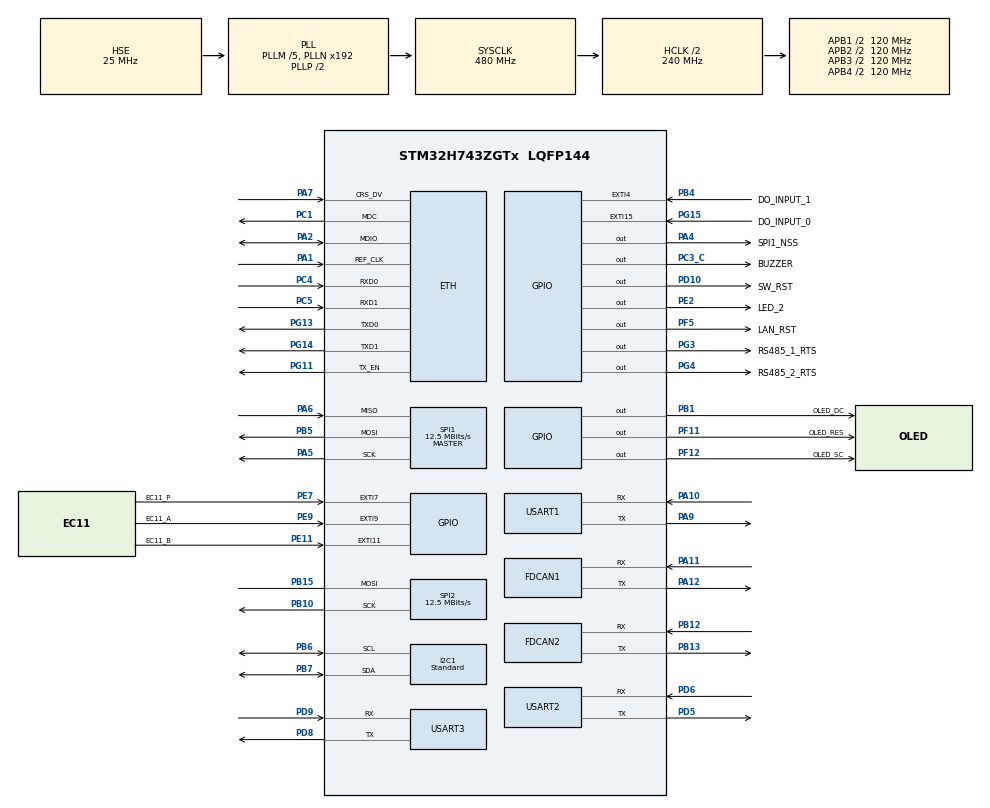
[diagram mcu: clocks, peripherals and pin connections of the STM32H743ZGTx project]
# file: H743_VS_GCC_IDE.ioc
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CORTEX_M7.AccessPermission_S-Cortex_Memory_Protection_Unit_Region1_Settings_S=MPU_REGION_FULL_ACCESS
CORTEX_M7.AccessPermission_S-Cortex_Memory_Protection_Unit_Region2_Settings_S=MPU_REGION_FULL_ACCESS
CORTEX_M7.AccessPermission_S-Cortex_Memory_Protection_Unit_Region3_Settings_S=MPU_REGION_FULL_ACCESS
CORTEX_M7.AccessPermission_S-Cortex_Memory_Protection_Unit_Region4_Settings_S=MPU_REGION_FULL_ACCESS
CORTEX_M7.AccessPermission_Spec=MPU_REGION_FULL_ACCESS
CORTEX_M7.BaseAddress_S-Cortex_Memory_Protection_Unit_Region1_Settings_S=0x30000000
CORTEX_M7.BaseAddress_S-Cortex_Memory_Protection_Unit_Region2_Settings_S=0x30004000
CORTEX_M7.BaseAddress_S-Cortex_Memory_Protection_Unit_Region3_Settings_S=0x38800000
CORTEX_M7.BaseAddress_S-Cortex_Memory_Protection_Unit_Region4_Settings_S=0x38000000
CORTEX_M7.BaseAddress_Spec=0x24000000
CORTEX_M7.CPU_DCache=Enabled
CORTEX_M7.CPU_ICache=Enabled
CORTEX_M7.DisableExec_S-Cortex_Memory_Protection_Unit_Region1_Settings_S=MPU_INSTRUCTION_ACCESS_DISABLE
CORTEX_M7.DisableExec_S-Cortex_Memory_Protection_Unit_Region2_Settings_S=MPU_INSTRUCTION_ACCESS_ENABLE
CORTEX_M7.DisableExec_Spec=MPU_INSTRUCTION_ACCESS_ENABLE
CORTEX_M7.Enable_S-Cortex_Memory_Protection_Unit_Region1_Settings_S=MPU_REGION_ENABLE
CORTEX_M7.Enable_S-Cortex_Memory_Protection_Unit_Region2_Settings_S=MPU_REGION_ENABLE
CORTEX_M7.Enable_S-Cortex_Memory_Protection_Unit_Region3_Settings_S=MPU_REGION_ENABLE
CORTEX_M7.Enable_S-Cortex_Memory_Protection_Unit_Region4_Settings_S=MPU_REGION_ENABLE
CORTEX_M7.Enable_S-Cortex_Memory_Protection_Unit_Region5_Settings_S=__NULL
CORTEX_M7.IsBufferable_S-Cortex_Memory_Protection_Unit_Region1_Settings_S=MPU_ACCESS_BUFFERABLE
CORTEX_M7.IsBufferable_S-Cortex_Memory_Protection_Unit_Region2_Settings_S=MPU_ACCESS_NOT_BUFFERABLE
CORTEX_M7.IsBufferable_S-Cortex_Memory_Protection_Unit_Region4_Settings_S=MPU_ACCESS_NOT_BUFFERABLE
CORTEX_M7.IsBufferable_Spec=MPU_ACCESS_NOT_BUFFERABLE
CORTEX_M7.IsCacheable_S-Cortex_Memory_Protection_Unit_Region2_Settings_S=MPU_ACCESS_CACHEABLE
CORTEX_M7.IsCacheable_S-Cortex_Memory_Protection_Unit_Region4_Settings_S=MPU_ACCESS_CACHEABLE
CORTEX_M7.IsCacheable_Spec=MPU_ACCESS_CACHEABLE
CORTEX_M7.IsShareable_S-Cortex_Memory_Protection_Unit_Region1_Settings_S=MPU_ACCESS_SHAREABLE
CORTEX_M7.IsShareable_S-Cortex_Memory_Protection_Unit_Region2_Settings_S=MPU_ACCESS_NOT_SHAREABLE
CORTEX_M7.IsShareable_S-Cortex_Memory_Protection_Unit_Region4_Settings_S=MPU_ACCESS_SHAREABLE
CORTEX_M7.IsShareable_Spec=MPU_ACCESS_NOT_SHAREABLE
CORTEX_M7.Size_S-Cortex_Memory_Protection_Unit_Region1_Settings_S=MPU_REGION_SIZE_256B
CORTEX_M7.Size_S-Cortex_Memory_Protection_Unit_Region2_Settings_S=MPU_REGION_SIZE_64KB
CORTEX_M7.Size_S-Cortex_Memory_Protection_Unit_Region3_Settings_S=MPU_REGION_SIZE_4KB
CORTEX_M7.Size_S-Cortex_Memory_Protection_Unit_Region4_Settings_S=MPU_REGION_SIZE_64KB
CORTEX_M7.Size_Spec=MPU_REGION_SIZE_512KB
CORTEX_M7.SubRegionDisable_Spec=0x00
CORTEX_M7.TypeExtField_S-Cortex_Memory_Protection_Unit_Region2_Settings_S=MPU_TEX_LEVEL1
CORTEX_M7.default_mode_Activation=1
Dma.I2C1_TX.0.Direction=DMA_MEMORY_TO_PERIPH
Dma.I2C1_TX.0.EventEnable=DISABLE
Dma.I2C1_TX.0.FIFOMode=DMA_FIFOMODE_DISABLE
Dma.I2C1_TX.0.Instance=DMA1_Stream3
Dma.I2C1_TX.0.MemDataAlignment=DMA_MDATAALIGN_BYTE
Dma.I2C1_TX.0.MemInc=DMA_MINC_ENABLE
Dma.I2C1_TX.0.Mode=DMA_NORMAL
Dma.I2C1_TX.0.PeriphDataAlignment=DMA_PDATAALIGN_BYTE
Dma.I2C1_TX.0.PeriphInc=DMA_PINC_DISABLE
Dma.I2C1_TX.0.Polarity=HAL_DMAMUX_REQ_GEN_RISING
Dma.I2C1_TX.0.Priority=DMA_PRIORITY_LOW
Dma.I2C1_TX.0.RequestNumber=1
Dma.I2C1_TX.0.SignalID=NONE
Dma.I2C1_TX.0.SyncEnable=DISABLE
Dma.I2C1_TX.0.SyncPolarity=HAL_DMAMUX_SYNC_NO_EVENT
Dma.I2C1_TX.0.SyncRequestNumber=1
Dma.I2C1_TX.0.SyncSignalID=NONE
Dma.Request0=I2C1_TX
Dma.Request1=USART2_RX
Dma.Request2=USART2_TX
Dma.Request3=USART1_RX
Dma.Request4=USART1_TX
Dma.USART1_RX.3.Direction=DMA_PERIPH_TO_MEMORY
Dma.USART1_RX.3.EventEnable=DISABLE
Dma.USART1_RX.3.FIFOMode=DMA_FIFOMODE_DISABLE
Dma.USART1_RX.3.Instance=DMA1_Stream0
Dma.USART1_RX.3.MemDataAlignment=DMA_MDATAALIGN_BYTE
Dma.USART1_RX.3.MemInc=DMA_MINC_ENABLE
Dma.USART1_RX.3.Mode=DMA_NORMAL
Dma.USART1_RX.3.PeriphDataAlignment=DMA_PDATAALIGN_BYTE
Dma.USART1_RX.3.PeriphInc=DMA_PINC_DISABLE
Dma.USART1_RX.3.Polarity=HAL_DMAMUX_REQ_GEN_RISING
Dma.USART1_RX.3.Priority=DMA_PRIORITY_HIGH
Dma.USART1_RX.3.RequestNumber=1
Dma.USART1_RX.3.SignalID=NONE
Dma.USART1_RX.3.SyncEnable=DISABLE
Dma.USART1_RX.3.SyncPolarity=HAL_DMAMUX_SYNC_NO_EVENT
Dma.USART1_RX.3.SyncRequestNumber=1
Dma.USART1_RX.3.SyncSignalID=NONE
Dma.USART1_TX.4.Direction=DMA_MEMORY_TO_PERIPH
Dma.USART1_TX.4.EventEnable=DISABLE
Dma.USART1_TX.4.FIFOMode=DMA_FIFOMODE_DISABLE
Dma.USART1_TX.4.Instance=DMA1_Stream1
Dma.USART1_TX.4.MemDataAlignment=DMA_MDATAALIGN_BYTE
Dma.USART1_TX.4.MemInc=DMA_MINC_ENABLE
Dma.USART1_TX.4.Mode=DMA_NORMAL
Dma.USART1_TX.4.PeriphDataAlignment=DMA_PDATAALIGN_BYTE
Dma.USART1_TX.4.PeriphInc=DMA_PINC_DISABLE
Dma.USART1_TX.4.Polarity=HAL_DMAMUX_REQ_GEN_RISING
Dma.USART1_TX.4.Priority=DMA_PRIORITY_HIGH
Dma.USART1_TX.4.RequestNumber=1
Dma.USART1_TX.4.SignalID=NONE
Dma.USART1_TX.4.SyncEnable=DISABLE
Dma.USART1_TX.4.SyncPolarity=HAL_DMAMUX_SYNC_NO_EVENT
Dma.USART1_TX.4.SyncRequestNumber=1
Dma.USART1_TX.4.SyncSignalID=NONE
Dma.USART2_RX.1.Direction=DMA_PERIPH_TO_MEMORY
Dma.USART2_RX.1.EventEnable=DISABLE
Dma.USART2_RX.1.FIFOMode=DMA_FIFOMODE_DISABLE
Dma.USART2_RX.1.Instance=DMA1_Stream4
Dma.USART2_RX.1.MemDataAlignment=DMA_MDATAALIGN_BYTE
Dma.USART2_RX.1.MemInc=DMA_MINC_ENABLE
Dma.USART2_RX.1.Mode=DMA_NORMAL
Dma.USART2_RX.1.PeriphDataAlignment=DMA_PDATAALIGN_BYTE
Dma.USART2_RX.1.PeriphInc=DMA_PINC_DISABLE
Dma.USART2_RX.1.Polarity=HAL_DMAMUX_REQ_GEN_RISING
Dma.USART2_RX.1.Priority=DMA_PRIORITY_LOW
Dma.USART2_RX.1.RequestNumber=1
Dma.USART2_RX.1.SignalID=NONE
Dma.USART2_RX.1.SyncEnable=DISABLE
Dma.USART2_RX.1.SyncPolarity=HAL_DMAMUX_SYNC_NO_EVENT
Dma.USART2_RX.1.SyncRequestNumber=1
Dma.USART2_RX.1.SyncSignalID=NONE
Dma.USART2_TX.2.Direction=DMA_MEMORY_TO_PERIPH
Dma.USART2_TX.2.EventEnable=DISABLE
Dma.USART2_TX.2.FIFOMode=DMA_FIFOMODE_DISABLE
Dma.USART2_TX.2.Instance=DMA1_Stream5
Dma.USART2_TX.2.MemDataAlignment=DMA_MDATAALIGN_BYTE
Dma.USART2_TX.2.MemInc=DMA_MINC_ENABLE
Dma.USART2_TX.2.Mode=DMA_NORMAL
Dma.USART2_TX.2.PeriphDataAlignment=DMA_PDATAALIGN_BYTE
Dma.USART2_TX.2.PeriphInc=DMA_PINC_DISABLE
Dma.USART2_TX.2.Polarity=HAL_DMAMUX_REQ_GEN_RISING
Dma.USART2_TX.2.Priority=DMA_PRIORITY_LOW
Dma.USART2_TX.2.RequestNumber=1
Dma.USART2_TX.2.SignalID=NONE
Dma.USART2_TX.2.SyncEnable=DISABLE
Dma.USART2_TX.2.SyncPolarity=HAL_DMAMUX_SYNC_NO_EVENT
Dma.USART2_TX.2.SyncRequestNumber=1
Dma.USART2_TX.2.SyncSignalID=NONE
ETH.ETH_RX_DESC_CNT=4
ETH.ETH_TX_DESC_CNT=4
ETH.MediaInterface=HAL_ETH_RMII_MODE
ETH.RxBuffLen=1536
ETH.RxBufferAddress=0x30000200
ETH.RxDescAddress=0x30000000
ETH.TxDescAddress=0x30000100
FDCAN1.CalculateBaudRateNominal=500000
FDCAN1.CalculateTimeBitNominal=2000
FDCAN1.CalculateTimeQuantumNominal=50.0
FDCAN1.DataPrescaler=5
FDCAN1.DataTimeSeg1=31
FDCAN1.DataTimeSeg2=8
FDCAN1.NominalPrescaler=5
FDCAN1.NominalTimeSeg1=31
FDCAN1.NominalTimeSeg2=8
FDCAN1.RxFifo0ElmtsNbr=32
FDCAN1.StdFiltersNbr=1
FDCAN1.TxFifoQueueElmtsNbr=16
FDCAN2.CalculateBaudRateNominal=500000
FDCAN2.CalculateTimeBitNominal=2000
FDCAN2.CalculateTimeQuantumNominal=50.0
FDCAN2.DataPrescaler=5
FDCAN2.DataTimeSeg1=31
FDCAN2.DataTimeSeg2=8
FDCAN2.MessageRAMOffset=0x406
FDCAN2.NominalPrescaler=5
FDCAN2.NominalTimeSeg1=31
FDCAN2.NominalTimeSeg2=8
FDCAN2.RxFifo1ElmtsNbr=32
FDCAN2.StdFiltersNbr=1
FDCAN2.TxFifoQueueElmtsNbr=32
FREERTOS.HEAP_NUMBER=4
FREERTOS.Tasks01=defaultTask,24,4096,StartDefaultTask,Default,NULL,Dynamic,NULL,NULL
FREERTOS.configENABLE_FPU=1
FREERTOS.configMINIMAL_STACK_SIZE=1024
FREERTOS.configTIMER_QUEUE_LENGTH=20
FREERTOS.configTIMER_TASK_PRIORITY=24
FREERTOS.configTIMER_TASK_STACK_DEPTH=20480
FREERTOS.configTOTAL_HEAP_SIZE=150*1024
FREERTOS.configUSE_NEWLIB_REENTRANT=1
FREERTOS.configUSE_TICKLESS_IDLE=1
I2C1.CustomTiming=Disabled
I2C1.I2C_Coeff_DF=10
I2C1.I2C_Fall_Time=20
I2C1.I2C_Rise_Time=20
I2C1.I2C_Speed_Mode=I2C_Standard
I2C1.Timing=0x10D0E0FF
IWDG1.Prescaler=IWDG_PRESCALER_4
LWIP.BSP.number=1
LWIP.DEFAULT_THREAD_PRIO=28
LWIP.ETH_RX_BUFFER_CNT=128
LWIP.IP_ADDRESS=000.000.000.000
LWIP.LWIP_ALLOW_MEM_FREE_FROM_OTHER_CONTEXT=1
LWIP.LWIP_DHCP=0
LWIP.LWIP_NETCONN_FULLDUPLEX=1
LWIP.LWIP_RAM_HEAP_POINTER=0x30000800
LWIP.LWIP_SNTP=1
LWIP.MEMP_MEM_INIT=1
LWIP.MEMP_MEM_MALLOC=1
LWIP.MEMP_NUM_PBUF=64
LWIP.MEMP_USE_CUSTOM_POOLS=1
LWIP.MEM_LIBC_MALLOC=1
LWIP.MEM_SIZE=65535
LWIP.NETMASK_ADDRESS=000.000.000.000
LWIP.PBUF_POOL_SIZE=128
LWIP.SLIPIF_THREAD_PRIO=28
LWIP.TCPIP_THREAD_PRIO=32
LWIP.TCPIP_THREAD_STACKSIZE=4096
LWIP.TCP_SND_QUEUELEN=24
LWIP.Version=v2.1.2_Cube
LWIP0.BSP.STBoard=false
LWIP0.BSP.api=BSP_COMPONENT_DRIVER
LWIP0.BSP.component=LAN8742
LWIP0.BSP.instance=LAN8742
LWIP0.BSP.name=Driver_PHY
LWIP0.BSP.semaphore=S_LAN8742
LWIP0.BSP.solution=LAN8742
Mcu.Family=STM32H7
Mcu.Name=STM32H743ZGTx
Mcu.Package=LQFP144
NVIC.DMA1_Stream0_IRQn=true\:5\:0\:false\:false\:true\:true\:false\:true\:true
NVIC.DMA1_Stream1_IRQn=true\:5\:0\:false\:false\:true\:true\:false\:true\:true
NVIC.DMA1_Stream3_IRQn=true\:5\:0\:false\:false\:true\:true\:false\:true\:true
NVIC.DMA1_Stream4_IRQn=true\:5\:0\:false\:false\:true\:true\:false\:true\:true
NVIC.DMA1_Stream5_IRQn=true\:5\:0\:false\:false\:true\:true\:false\:true\:true
NVIC.ETH_IRQn=true\:5\:0\:true\:false\:true\:true\:true\:true\:true
NVIC.EXTI15_10_IRQn=true\:5\:0\:false\:false\:true\:true\:true\:true\:true
NVIC.EXTI4_IRQn=true\:5\:0\:false\:false\:true\:true\:true\:true\:true
NVIC.EXTI9_5_IRQn=true\:5\:0\:true\:false\:true\:false\:true\:true\:true
NVIC.FDCAN1_IT0_IRQn=true\:5\:0\:false\:false\:true\:true\:true\:true\:true
NVIC.FDCAN2_IT0_IRQn=true\:5\:0\:false\:false\:true\:true\:true\:true\:true
NVIC.PriorityGroup=NVIC_PRIORITYGROUP_4
NVIC.TIM2_IRQn=true\:5\:0\:false\:false\:false\:true\:true\:true\:true
NVIC.TIM7_IRQn=true\:15\:0\:false\:false\:true\:false\:false\:true\:true
NVIC.TimeBase=TIM7_IRQn
NVIC.TimeBaseIP=TIM7
NVIC.USART1_IRQn=true\:7\:0\:true\:false\:false\:true\:true\:true\:true
NVIC.USART2_IRQn=true\:5\:0\:true\:false\:true\:true\:true\:true\:true
NVIC.USART3_IRQn=true\:5\:0\:true\:false\:false\:true\:true\:true\:true
PA1.GPIO_Mode=GPIO_MODE_AF_PP
PA1.GPIO_PuPd=GPIO_NOPULL
PA1.GPIO_Speed=GPIO_SPEED_FREQ_VERY_HIGH
PA1.Mode=RMII
PA1.Signal=ETH_REF_CLK
PA10.GPIO_PuPd=GPIO_PULLUP
PA10.GPIO_Speed=GPIO_SPEED_FREQ_HIGH
PA10.Mode=Asynchronous
PA10.Signal=USART1_RX
PA11.Mode=FDCAN_Activate
PA11.Signal=FDCAN1_RX
PA12.Mode=FDCAN_Activate
PA12.Signal=FDCAN1_TX
PA13\ (JTMS/SWDIO).Mode=Serial_Wire
PA13\ (JTMS/SWDIO).Signal=DEBUG_JTMS-SWDIO
PA14\ (JTCK/SWCLK).Mode=Serial_Wire
PA14\ (JTCK/SWCLK).Signal=DEBUG_JTCK-SWCLK
PA2.GPIO_Mode=GPIO_MODE_AF_PP
PA2.GPIO_PuPd=GPIO_NOPULL
PA2.GPIO_Speed=GPIO_SPEED_FREQ_VERY_HIGH
PA2.Mode=RMII
PA2.Signal=ETH_MDIO
PA4.GPIO_Label=SPI1_NSS
PA4.GPIO_Speed=GPIO_SPEED_FREQ_MEDIUM
PA4.Signal=GPIO_Output
PA5.GPIO_Speed=GPIO_SPEED_FREQ_VERY_HIGH
PA5.Mode=Full_Duplex_Master
PA5.Signal=SPI1_SCK
PA6.GPIO_Speed=GPIO_SPEED_FREQ_VERY_HIGH
PA6.Mode=Full_Duplex_Master
PA6.Signal=SPI1_MISO
PA7.GPIO_Mode=GPIO_MODE_AF_PP
PA7.GPIO_PuPd=GPIO_NOPULL
PA7.GPIO_Speed=GPIO_SPEED_FREQ_VERY_HIGH
PA7.Mode=RMII
PA7.Signal=ETH_CRS_DV
PA9.GPIO_PuPd=GPIO_PULLUP
PA9.GPIO_Speed=GPIO_SPEED_FREQ_HIGH
PA9.Mode=Asynchronous
PA9.Signal=USART1_TX
PB1.GPIO_Label=OLED_DC
PB1.Signal=GPIO_Output
PB10.Mode=Simplex_Bidirectional_Master
PB10.Signal=SPI2_SCK
PB12.Mode=FDCAN_Activate
PB12.Signal=FDCAN2_RX
PB13.Mode=FDCAN_Activate
PB13.Signal=FDCAN2_TX
PB15.Mode=Simplex_Bidirectional_Master
PB15.Signal=SPI2_MOSI
PB4\ (NJTRST).GPIO_Label=DO_INPUT_1
PB4\ (NJTRST).Signal=GPXTI4
PB5.GPIO_Speed=GPIO_SPEED_FREQ_VERY_HIGH
PB5.Mode=Full_Duplex_Master
PB5.Signal=SPI1_MOSI
PB6.GPIO_Pu=GPIO_PULLUP
PB6.GPIO_Speed=GPIO_SPEED_FREQ_HIGH
PB6.Mode=I2C
PB6.Signal=I2C1_SCL
PB7.GPIO_Pu=GPIO_PULLUP
PB7.GPIO_Speed=GPIO_SPEED_FREQ_HIGH
PB7.Mode=I2C
PB7.Signal=I2C1_SDA
PC1.GPIO_Mode=GPIO_MODE_AF_PP
PC1.GPIO_PuPd=GPIO_NOPULL
PC1.GPIO_Speed=GPIO_SPEED_FREQ_VERY_HIGH
PC1.Mode=RMII
PC1.Signal=ETH_MDC
PC14-OSC32_IN\ (OSC32_IN).Mode=LSE-External-Oscillator
PC14-OSC32_IN\ (OSC32_IN).Signal=RCC_OSC32_IN
PC15-OSC32_OUT\ (OSC32_OUT).Mode=LSE-External-Oscillator
PC15-OSC32_OUT\ (OSC32_OUT).Signal=RCC_OSC32_OUT
PC3_C.GPIO_Label=BUZZER
PC3_C.GPIO_Speed=GPIO_SPEED_FREQ_HIGH
PC3_C.Signal=GPIO_Output
PC4.GPIO_Mode=GPIO_MODE_AF_PP
PC4.GPIO_PuPd=GPIO_NOPULL
PC4.GPIO_Speed=GPIO_SPEED_FREQ_VERY_HIGH
PC4.Mode=RMII
PC4.Signal=ETH_RXD0
PC5.GPIO_Mode=GPIO_MODE_AF_PP
PC5.GPIO_PuPd=GPIO_NOPULL
PC5.GPIO_Speed=GPIO_SPEED_FREQ_VERY_HIGH
PC5.Mode=RMII
PC5.Signal=ETH_RXD1
PD10.GPIO_Label=SW_RST
PD10.Signal=GPIO_Output
PD5.GPIO_PuPd=GPIO_PULLUP
PD5.GPIO_Speed=GPIO_SPEED_FREQ_HIGH
PD5.Mode=Asynchronous
PD5.Signal=USART2_TX
PD6.GPIO_PuPd=GPIO_PULLUP
PD6.GPIO_Speed=GPIO_SPEED_FREQ_HIGH
PD6.Mode=Asynchronous
PD6.Signal=USART2_RX
PD8.GPIO_PuPd=GPIO_PULLUP
PD8.GPIO_Speed=GPIO_SPEED_FREQ_HIGH
PD8.Mode=Asynchronous
PD8.Signal=USART3_TX
PD9.GPIO_PuPd=GPIO_PULLUP
PD9.GPIO_Speed=GPIO_SPEED_FREQ_HIGH
PD9.Mode=Asynchronous
PD9.Signal=USART3_RX
PE11.GPIO_Label=EC11_B
PE11.Signal=GPXTI11
PE2.GPIO_Label=LED_2
PE2.GPIO_PuPd=GPIO_PULLUP
PE2.Signal=GPIO_Output
PE7.GPIO_Label=EC11_P
PE7.GPIO_ModeDefaultEXTI=GPIO_MODE_IT_RISING_FALLING
PE7.Signal=GPXTI7
PE9.GPIO_Label=EC11_A
PE9.Signal=GPXTI9
PF11.GPIO_Label=OLED_RES
PF11.Signal=GPIO_Output
PF12.GPIO_Label=OLED_SC
PF12.Signal=GPIO_Output
PF5.GPIO_Label=LAN_RST
PF5.GPIO_PuPd=GPIO_NOPULL
PF5.PinState=GPIO_PIN_SET
PF5.Signal=GPIO_Output
PG11.GPIO_Mode=GPIO_MODE_AF_PP
PG11.GPIO_PuPd=GPIO_NOPULL
PG11.GPIO_Speed=GPIO_SPEED_FREQ_VERY_HIGH
PG11.Mode=RMII
PG11.Signal=ETH_TX_EN
PG13.GPIO_Mode=GPIO_MODE_AF_PP
PG13.GPIO_PuPd=GPIO_NOPULL
PG13.GPIO_Speed=GPIO_SPEED_FREQ_VERY_HIGH
PG13.Mode=RMII
PG13.Signal=ETH_TXD0
PG14.GPIO_Mode=GPIO_MODE_AF_PP
PG14.GPIO_PuPd=GPIO_NOPULL
PG14.GPIO_Speed=GPIO_SPEED_FREQ_VERY_HIGH
PG14.Mode=RMII
PG14.Signal=ETH_TXD1
PG15.GPIO_Label=DO_INPUT_0
PG15.GPIO_PuPd=GPIO_PULLDOWN
PG15.Signal=GPXTI15
PG3.GPIO_Label=RS485_1_RTS
PG3.GPIO_ModeDefaultOutputPP=GPIO_MODE_OUTPUT_PP
PG3.GPIO_PuPd=GPIO_NOPULL
PG3.GPIO_Speed=GPIO_SPEED_FREQ_MEDIUM
PG3.PinState=GPIO_PIN_RESET
PG3.Signal=GPIO_Output
PG4.GPIO_Label=RS485_2_RTS
PG4.GPIO_PuPd=GPIO_NOPULL
PG4.GPIO_Speed=GPIO_SPEED_FREQ_MEDIUM
PG4.PinState=GPIO_PIN_RESET
PG4.Signal=GPIO_Output
PH0-OSC_IN\ (PH0).Mode=HSE-External-Oscillator
PH0-OSC_IN\ (PH0).Signal=RCC_OSC_IN
PH1-OSC_OUT\ (PH1).Mode=HSE-External-Oscillator
PH1-OSC_OUT\ (PH1).Signal=RCC_OSC_OUT
ProjectManager.HeapSize=0x1200
ProjectManager.StackSize=0x1000
ProjectManager.TargetToolchain=CMake
RCC.ADCFreq_Value=100000000
RCC.APB1Freq_Value=120000000
RCC.APB2Freq_Value=120000000
RCC.APB3Freq_Value=120000000
RCC.APB4Freq_Value=120000000
RCC.CortexFreq_Value=480000000
RCC.D1PPRE=RCC_APB3_DIV2
RCC.D2PPRE1=RCC_APB1_DIV2
RCC.D2PPRE2=RCC_APB2_DIV2
RCC.D3PPRE=RCC_APB4_DIV2
RCC.DIVM1=5
RCC.DIVM2=5
RCC.DIVM3=5
RCC.DIVN1=192
RCC.DIVN2=160
RCC.DIVN3=160
RCC.DIVP2=8
RCC.DIVP3=4
RCC.DIVQ2=8
RCC.DIVR3=8
RCC.FDCANCLockSelection=RCC_FDCANCLKSOURCE_PLL2
RCC.HCLKFreq_Value=240000000
RCC.HPRE=RCC_HCLK_DIV2
RCC.I2C123CLockSelection=RCC_I2C123CLKSOURCE_PLL3
RCC.PLLSourceVirtual=RCC_PLLSOURCE_HSE
RCC.RTCClockSelection=RCC_RTCCLKSOURCE_LSE
RCC.SPI123CLockSelection=RCC_SPI123CLKSOURCE_PLL3
RCC.SYSCLKFreq_VALUE=480000000
RCC.SYSCLKSource=RCC_SYSCLKSOURCE_PLLCLK
RCC.USBFreq_Value=480000000
RTC.Format=RTC_FORMAT_BCD
RTC.Year=25
SPI1.BaudRatePrescaler=SPI_BAUDRATEPRESCALER_16
SPI1.CLKPhase=SPI_PHASE_1EDGE
SPI1.CLKPolarity=SPI_POLARITY_LOW
SPI1.CalculateBaudRate=12.5 MBits/s
SPI1.DataSize=SPI_DATASIZE_8BIT
SPI1.Direction=SPI_DIRECTION_2LINES
SPI1.FirstBit=SPI_FIRSTBIT_MSB
SPI1.Mode=SPI_MODE_MASTER
SPI1.VirtualType=VM_MASTER
SPI2.BaudRatePrescaler=SPI_BAUDRATEPRESCALER_16
SPI2.CLKPhase=SPI_PHASE_2EDGE
SPI2.CLKPolarity=SPI_POLARITY_HIGH
SPI2.CalculateBaudRate=12.5 MBits/s
SPI2.DataSize=SPI_DATASIZE_8BIT
SPI2.Direction=SPI_DIRECTION_1LINE
SPI2.Mode=SPI_MODE_MASTER
SPI2.VirtualType=VM_MASTER
TIM2.AutoReloadPreload=TIM_AUTORELOAD_PRELOAD_DISABLE
TIM2.Prescaler=239
USART1.VirtualMode-Asynchronous=VM_ASYNC
USART2.VirtualMode-Asynchronous=VM_ASYNC
USART3.VirtualMode-Asynchronous=VM_ASYNC
VP_FREERTOS_VS_CMSIS_V2.Mode=CMSIS_V2
VP_IWDG1_VS_IWDG.Mode=IWDG_Activate
VP_LWIP_VS_Enabled.Mode=Enabled
VP_MEMORYMAP_VS_MEMORYMAP.Mode=CurAppReg
VP_RTC_VS_RTC_Activate.Mode=RTC_Enabled
VP_RTC_VS_RTC_Calendar.Mode=RTC_Calendar
VP_SYS_VS_tim7.Mode=TIM7
VP_TIM2_VS_ClockSourceINT.Mode=Internal
board=custom

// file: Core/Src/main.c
/* USER CODE BEGIN Header */
/**
  ******************************************************************************
  * @file           : main.c
  * @brief          : Main program body
  ******************************************************************************
  * @attention
  *
  * Copyright (c) 2026 STMicroelectronics.
  * All rights reserved.
  *
  * This software is licensed under terms that can be found in the LICENSE file
  * in the root directory of this software component.
  * If no LICENSE file comes with this software, it is provided AS-IS.
  *
  ******************************************************************************
  */
/* USER CODE END Header */
#include "main.h"
#include "cmsis_os.h"
#include "dma.h"
#include "fdcan.h"
#include "i2c.h"
#include "iwdg.h"
#include "lwip.h"
#include "rtc.h"
#include "spi.h"
#include "tim.h"
#include "usart.h"
#include "gpio.h"

/* USER CODE BEGIN Includes */
#include "cJSON.h"
/* USER CODE END Includes */

void SystemClock_Config(void);
void PeriphCommonClock_Config(void);
static void MPU_Config(void);
void MX_FREERTOS_Init(void);

int main(void)
{

  /* MPU Configuration--------------------------------------------------------*/
  MPU_Config();

  /* Enable the CPU Cache */

  /* Enable I-Cache---------------------------------------------------------*/
  SCB_EnableICache();

  /* Enable D-Cache---------------------------------------------------------*/
  SCB_EnableDCache();

  /* MCU Configuration--------------------------------------------------------*/

  /* Reset of all peripherals, Initializes the Flash interface and the Systick. */
  HAL_Init();

  /* Configure the system clock */
  SystemClock_Config();

  /* Configure the peripherals common clocks */
  PeriphCommonClock_Config();

  /* Initialize all configured peripherals */
  MX_GPIO_Init();
  MX_DMA_Init();
  MX_FDCAN1_Init();
  MX_FDCAN2_Init();
  MX_I2C1_Init();
  MX_RTC_Init();
  MX_SPI1_Init();
  MX_USART1_UART_Init();
  MX_USART3_UART_Init();
  MX_USART2_UART_Init();
  MX_SPI2_Init();
  MX_TIM2_Init();
  //MX_IWDG1_Init();
  /* USER CODE BEGIN 2 */
  cJSON_Init_FreeRTOS_Heap();
  /* USER CODE END 2 */

  /* Init scheduler */
  osKernelInitialize();  /* Call init function for freertos objects (in cmsis_os2.c) */
  MX_FREERTOS_Init();

  /* Start scheduler */
  osKernelStart();

  /* We should never get here as control is now taken by the scheduler */

  /* Infinite loop */
  while (1)
  {

  }
}

void SystemClock_Config(void)
{
  RCC_OscInitTypeDef RCC_OscInitStruct = {0};
  RCC_ClkInitTypeDef RCC_ClkInitStruct = {0};

  /** Supply configuration update enable
  */
  HAL_PWREx_ConfigSupply(PWR_LDO_SUPPLY);

  /** Configure the main internal regulator output voltage
  */
  __HAL_PWR_VOLTAGESCALING_CONFIG(PWR_REGULATOR_VOLTAGE_SCALE0);

  while(!__HAL_PWR_GET_FLAG(PWR_FLAG_VOSRDY)) {}

  /** Configure LSE Drive Capability
  */
  HAL_PWR_EnableBkUpAccess();
  __HAL_RCC_LSEDRIVE_CONFIG(RCC_LSEDRIVE_LOW);

  /** Initializes the RCC Oscillators according to the specified parameters
  * in the RCC_OscInitTypeDef structure.
  */
  RCC_OscInitStruct.OscillatorType = RCC_OSCILLATORTYPE_LSI|RCC_OSCILLATORTYPE_HSE
                              |RCC_OSCILLATORTYPE_LSE;
  RCC_OscInitStruct.HSEState = RCC_HSE_ON;
  RCC_OscInitStruct.LSEState = RCC_LSE_ON;
  RCC_OscInitStruct.LSIState = RCC_LSI_ON;
  RCC_OscInitStruct.PLL.PLLState = RCC_PLL_ON;
  RCC_OscInitStruct.PLL.PLLSource = RCC_PLLSOURCE_HSE;
  RCC_OscInitStruct.PLL.PLLM = 5;
  RCC_OscInitStruct.PLL.PLLN = 192;
  RCC_OscInitStruct.PLL.PLLP = 2;
  RCC_OscInitStruct.PLL.PLLQ = 2;
  RCC_OscInitStruct.PLL.PLLR = 2;
  RCC_OscInitStruct.PLL.PLLRGE = RCC_PLL1VCIRANGE_2;
  RCC_OscInitStruct.PLL.PLLVCOSEL = RCC_PLL1VCOWIDE;
  RCC_OscInitStruct.PLL.PLLFRACN = 0;
  if (HAL_RCC_OscConfig(&RCC_OscInitStruct) != HAL_OK)
  {
    Error_Handler();
  }

  /** Initializes the CPU, AHB and APB buses clocks
  */
  RCC_ClkInitStruct.ClockType = RCC_CLOCKTYPE_HCLK|RCC_CLOCKTYPE_SYSCLK
                              |RCC_CLOCKTYPE_PCLK1|RCC_CLOCKTYPE_PCLK2
                              |RCC_CLOCKTYPE_D3PCLK1|RCC_CLOCKTYPE_D1PCLK1;
  RCC_ClkInitStruct.SYSCLKSource = RCC_SYSCLKSOURCE_PLLCLK;
  RCC_ClkInitStruct.SYSCLKDivider = RCC_SYSCLK_DIV1;
  RCC_ClkInitStruct.AHBCLKDivider = RCC_HCLK_DIV2;
  RCC_ClkInitStruct.APB3CLKDivider = RCC_APB3_DIV2;
  RCC_ClkInitStruct.APB1CLKDivider = RCC_APB1_DIV2;
  RCC_ClkInitStruct.APB2CLKDivider = RCC_APB2_DIV2;
  RCC_ClkInitStruct.APB4CLKDivider = RCC_APB4_DIV2;

  if (HAL_RCC_ClockConfig(&RCC_ClkInitStruct, FLASH_LATENCY_4) != HAL_OK)
  {
    Error_Handler();
  }
}

void PeriphCommonClock_Config(void)
{
  RCC_PeriphCLKInitTypeDef PeriphClkInitStruct = {0};

  /** Initializes the peripherals clock
  */
  PeriphClkInitStruct.PeriphClockSelection = RCC_PERIPHCLK_I2C1|RCC_PERIPHCLK_SPI2
                              |RCC_PERIPHCLK_SPI1|RCC_PERIPHCLK_FDCAN;
  PeriphClkInitStruct.PLL2.PLL2M = 5;
  PeriphClkInitStruct.PLL2.PLL2N = 160;
  PeriphClkInitStruct.PLL2.PLL2P = 8;
  PeriphClkInitStruct.PLL2.PLL2Q = 8;
  PeriphClkInitStruct.PLL2.PLL2R = 2;
  PeriphClkInitStruct.PLL2.PLL2RGE = RCC_PLL2VCIRANGE_2;
  PeriphClkInitStruct.PLL2.PLL2VCOSEL = RCC_PLL2VCOWIDE;
  PeriphClkInitStruct.PLL2.PLL2FRACN = 0;
  PeriphClkInitStruct.PLL3.PLL3M = 5;
  PeriphClkInitStruct.PLL3.PLL3N = 160;
  PeriphClkInitStruct.PLL3.PLL3P = 4;
  PeriphClkInitStruct.PLL3.PLL3Q = 2;
  PeriphClkInitStruct.PLL3.PLL3R = 8;
  PeriphClkInitStruct.PLL3.PLL3RGE = RCC_PLL3VCIRANGE_2;
  PeriphClkInitStruct.PLL3.PLL3VCOSEL = RCC_PLL3VCOWIDE;
  PeriphClkInitStruct.PLL3.PLL3FRACN = 0;
  PeriphClkInitStruct.Spi123ClockSelection = RCC_SPI123CLKSOURCE_PLL3;
  PeriphClkInitStruct.FdcanClockSelection = RCC_FDCANCLKSOURCE_PLL2;
  PeriphClkInitStruct.I2c123ClockSelection = RCC_I2C123CLKSOURCE_PLL3;
  if (HAL_RCCEx_PeriphCLKConfig(&PeriphClkInitStruct) != HAL_OK)
  {
    Error_Handler();
  }
}

 /* MPU Configuration */

void MPU_Config(void)
{
  MPU_Region_InitTypeDef MPU_InitStruct = {0};

  /* Disables the MPU */
  HAL_MPU_Disable();

  /** Initializes and configures the Region and the memory to be protected
  */
  MPU_InitStruct.Enable = MPU_REGION_ENABLE;
  MPU_InitStruct.Number = MPU_REGION_NUMBER0;
  MPU_InitStruct.BaseAddress = 0x24000000;
  MPU_InitStruct.Size = MPU_REGION_SIZE_512KB;
  MPU_InitStruct.SubRegionDisable = 0x00;
  MPU_InitStruct.TypeExtField = MPU_TEX_LEVEL0;
  MPU_InitStruct.AccessPermission = MPU_REGION_FULL_ACCESS;
  MPU_InitStruct.DisableExec = MPU_INSTRUCTION_ACCESS_ENABLE;
  MPU_InitStruct.IsShareable = MPU_ACCESS_NOT_SHAREABLE;
  MPU_InitStruct.IsCacheable = MPU_ACCESS_CACHEABLE;
  MPU_InitStruct.IsBufferable = MPU_ACCESS_NOT_BUFFERABLE;

  HAL_MPU_ConfigRegion(&MPU_InitStruct);

  /** Initializes and configures the Region and the memory to be protected
  */
  MPU_InitStruct.Number = MPU_REGION_NUMBER1;
  MPU_InitStruct.BaseAddress = 0x30000000;
  MPU_InitStruct.Size = MPU_REGION_SIZE_256B;
  MPU_InitStruct.SubRegionDisable = 0x0;
  MPU_InitStruct.DisableExec = MPU_INSTRUCTION_ACCESS_DISABLE;
  MPU_InitStruct.IsShareable = MPU_ACCESS_SHAREABLE;
  MPU_InitStruct.IsCacheable = MPU_ACCESS_NOT_CACHEABLE;
  MPU_InitStruct.IsBufferable = MPU_ACCESS_BUFFERABLE;

  HAL_MPU_ConfigRegion(&MPU_InitStruct);

  /** Initializes and configures the Region and the memory to be protected
  */
  MPU_InitStruct.Number = MPU_REGION_NUMBER2;
  MPU_InitStruct.BaseAddress = 0x30004000;
  MPU_InitStruct.Size = MPU_REGION_SIZE_64KB;
  MPU_InitStruct.TypeExtField = MPU_TEX_LEVEL1;
  MPU_InitStruct.DisableExec = MPU_INSTRUCTION_ACCESS_ENABLE;
  MPU_InitStruct.IsShareable = MPU_ACCESS_NOT_SHAREABLE;
  MPU_InitStruct.IsCacheable = MPU_ACCESS_CACHEABLE;
  MPU_InitStruct.IsBufferable = MPU_ACCESS_NOT_BUFFERABLE;

  HAL_MPU_ConfigRegion(&MPU_InitStruct);

  /** Initializes and configures the Region and the memory to be protected
  */
  MPU_InitStruct.Number = MPU_REGION_NUMBER3;
  MPU_InitStruct.BaseAddress = 0x38800000;
  MPU_InitStruct.Size = MPU_REGION_SIZE_4KB;
  MPU_InitStruct.TypeExtField = MPU_TEX_LEVEL0;
  MPU_InitStruct.IsCacheable = MPU_ACCESS_NOT_CACHEABLE;

  HAL_MPU_ConfigRegion(&MPU_InitStruct);

  /** Initializes and configures the Region and the memory to be protected
  */
  MPU_InitStruct.Number = MPU_REGION_NUMBER4;
  MPU_InitStruct.BaseAddress = 0x38000000;
  MPU_InitStruct.Size = MPU_REGION_SIZE_64KB;
  MPU_InitStruct.IsShareable = MPU_ACCESS_SHAREABLE;
  MPU_InitStruct.IsCacheable = MPU_ACCESS_CACHEABLE;

  HAL_MPU_ConfigRegion(&MPU_InitStruct);
  /* Enables the MPU */
  HAL_MPU_Enable(MPU_PRIVILEGED_DEFAULT);

}

void HAL_TIM_PeriodElapsedCallback(TIM_HandleTypeDef *htim)
{
  if (htim->Instance == TIM7)
  {
    HAL_IncTick();
  }
}

void Error_Handler(void)
{
  __disable_irq();
  while (1)
  {
  }
}

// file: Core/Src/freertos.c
/* USER CODE BEGIN Header */
/**
 ******************************************************************************
 * File Name          : freertos.c
 * Description        : Code for freertos applications
 ******************************************************************************
 * @attention
 *
 * Copyright (c) 2026 STMicroelectronics.
 * All rights reserved.
 *
 * This software is licensed under terms that can be found in the LICENSE file
 * in the root directory of this software component.
 * If no LICENSE file comes with this software, it is provided AS-IS.
 *
 ******************************************************************************
 */
/* USER CODE END Header */

#include "FreeRTOS.h"
#include "task.h"
#include "main.h"
#include "cmsis_os.h"

/* USER CODE BEGIN Includes */
#include "u8g2.h"
#include "oled_u8g2.h"
#include "sht40.h"
#include "rtc_clock.h"
#include "stdio.h"
#include "string.h"
#include "oled_page.h"
#include "oled_task.h"
#include "bsp_fdcan.h"
#include "buzzer.h"
#include "mbif.h"
#include "running_logic.h"
#include "syncif.h"
#include "shell_port.h"
#include "var_init.h"
#include "flashdb.h"
#include "net_comm_task.h"
#include "iwdg.h"
/* USER CODE END Includes */

/* USER CODE BEGIN Variables */
QueueHandle_t udp_msg_queue = NULL;
QueueHandle_t xTcpTaskQueue = NULL;
QueueHandle_t xTimerReqQueue = NULL;
QueueHandle_t xRebootCmdQueue = NULL;
/* USER CODE END Variables */
/* Definitions for defaultTask */
osThreadId_t defaultTaskHandle;
const osThreadAttr_t defaultTask_attributes = {
  .name = "defaultTask",
  .stack_size = 4096 * 4,
  .priority = (osPriority_t) osPriorityNormal,
};

/* USER CODE BEGIN FunctionPrototypes */
/**********************任务*************************************/
osThreadId_t ETH_InitTaskHandle;
const osThreadAttr_t ETH_InitTask_attributes = {
  .name = "ETH_InitTask",
  .stack_size = 512 * 4,
  .priority = (osPriority_t) osPriorityNormal,
};

osThreadId_t udpTaskHandle;
const osThreadAttr_t udpTask_attributes = {
  .name = "udpTask",
  .stack_size = 1024 * 10,     // 足够跑 UDP + JSON
  .priority = (osPriority_t) osPriorityNormal1,  // 与MODBUS通讯任务相同比普通任务高
};

// TCP 客户端任务配置（TCP 9530）
osThreadId_t tcpConfigTaskHandle;
const osThreadAttr_t tcpConfigTask_attributes = {
  .name = "tcpConfigTask",        // 任务名，唯一不重复
  .stack_size = 2048 * 4,         // 栈大小：4K（足够TCP+JSON解析）
  .priority = (osPriority_t) osPriorityNormal1,  // 优先级同TCP任务
};

// TCP 客户端TCP 任务处理任务（从TCP任务队列取出任务信息，执行注油）
osThreadId_t TCP_task_processingTaskHandle;
const osThreadAttr_t TCP_task_processingTask_attributes = {
  .name = "TCP_task_processingTask",        // 任务名，唯一不重复
  .stack_size = 1024* 4,         // 栈大小：4K（足够TCP+JSON解析）
  .priority = (osPriority_t) osPriorityNormal1,  // 优先级同TCP任务
};

// 定时上报任务（从定时上报专用队列取出信息，执行定时上报）
osThreadId_t TimerReqSendTaskHandle;
const osThreadAttr_t TimerReqSendTask_attributes = {
  .name = "TimerReqSendTask",
  .stack_size = 1024 * 4,
  .priority = (osPriority_t)osPriorityNormal1,
};

// 时间同步任务句柄
osThreadId_t TimeSyncTaskHandle;
const osThreadAttr_t TimeSyncTask_attributes = {
  .name       = "TimeSyncTask",
  .stack_size = 512 * 4,
  .priority   = osPriorityNormal1,
};

// 测试注油任务句柄
osThreadId_t Test_Oil_FillingTaskHandle;
const osThreadAttr_t Test_Oil_FillingTask_attributes = {
  .name       = "Test_Oil_FillingTask",
  .stack_size = 1024 * 4,
  .priority   = osPriorityNormal1,
};

// 看门狗任务句柄
osThreadId_t IWDGTaskHandle;
const osThreadAttr_t IWDGTask_attributes = {
  .name       = "IWDGTask",
  .stack_size = 128 * 4,
  .priority   = osPriorityNormal7,
};

osThreadId_t RebootTaskHandle;
const osThreadAttr_t RebootTask_attributes = {
  .name       = "RebootTask",
  .stack_size = 512 * 4,    // 栈大小1024字节，兼容Flash读写、TCP发送、字符串操作
  .priority   = osPriorityNormal1,  // 优先级低于核心业务任务，不抢占注油/ADC
};

/**********************互斥锁*************************************/
osMutexId_t uart_mutex;//互斥锁，保护UART资源，避免多任务打印冲突
osMutexAttr_t uart_mutex_attr = {
    .name = "uart_mutex",
    .attr_bits = osMutexRecursive, // 支持递归锁，防止printf嵌套死锁
};

osMutexId_t flash_kv_mutex;
osMutexAttr_t flash_kv_mutex_attr = {
    .name = "flash_kv_mutex",
    .attr_bits = osMutexRecursive, // 开启递归，允许同一任务重复获取
};

osMutexId_t udp_pcb_mutex;
osMutexAttr_t udp_pcb_mutex_attr = {
    .name = "udp_pcb_mutex",
    .attr_bits = osMutexRecursive,
};

osMutexId_t tcp_send_mutex;
osMutexAttr_t tcp_send_mutex_attr = {
    .name = "tcp_send_mutex",
    .attr_bits = osMutexRecursive,
};

void StartUDPDiscoverTask(void *argument);
void StartTCPClientTask(void *argument);
void ETH_InitTask(void *argument);
void IWDGTask(void *argument);

uint32_t start =0;
uint32_t Initialization_time = 0;
/* USER CODE END FunctionPrototypes */

void StartDefaultTask(void *argument);

extern void MX_LWIP_Init(void);
void MX_FREERTOS_Init(void); /* (MISRA C 2004 rule 8.1) */

/* USER CODE BEGIN PREPOSTSLEEP */
__weak void PreSleepProcessing(uint32_t ulExpectedIdleTime)
{
  /* place for user code */
}

__weak void PostSleepProcessing(uint32_t ulExpectedIdleTime)
{
  /* place for user code */
}
/* USER CODE END PREPOSTSLEEP */

void MX_FREERTOS_Init(void) {
  /* USER CODE BEGIN Init */
  /*初始化全局变量*/
  var_init();
  fal_init();
  /* USER CODE END Init */

  /* Create the thread(s) */
  /* creation of defaultTask */
  defaultTaskHandle = osThreadNew(StartDefaultTask, NULL, &defaultTask_attributes);

  /* USER CODE BEGIN RTOS_THREADS */
  IWDGTaskHandle = osThreadNew(IWDGTask, NULL, &IWDGTask_attributes);//创建看门狗任务
  udp_msg_queue = xQueueCreate(UDP_MSG_QUEUE_LEN, sizeof(UdpMsgTypeDef));
  xTcpTaskQueue = xQueueCreate(TCP_TASK_QUEUE_LEN, sizeof(TaskInfo_t));
  xTimerReqQueue = xQueueCreate(8, sizeof(TaskInfo_t));
  xRebootCmdQueue = xQueueCreate(1, sizeof(RebootCmd_t));
  uart_mutex = osMutexNew(&uart_mutex_attr);
  flash_kv_mutex = osMutexNew(&flash_kv_mutex_attr);
  udp_pcb_mutex = osMutexNew(&udp_pcb_mutex_attr);
  tcp_send_mutex = osMutexNew(&tcp_send_mutex_attr);
  /* add threads, ... */
  /* USER CODE END RTOS_THREADS */

}

void StartDefaultTask(void *argument)
{
  /* init code for LWIP */
  MX_LWIP_Init();
  /* USER CODE BEGIN StartDefaultTask */
  GenerateDeviceSNFromUID();
  start = HAL_GetTick();
  LOG("init_net_db total start time: %lu ms", start);
  //fdb_kv_del(&net_kvdb, KV_KEY_REBOOT_INFO);// 测试用，清除掉电存储信息
  //—————————————必须放在MX_LWIP_Init();之后———————————————————————
  init_sys_db();//void syncif_task(void *argument)任务里的已经注释掉
  LOG("init_sys_db run time: %lu ms", HAL_GetTick() - start);
  init_net_db();
  LOG("init_net_db total run time: %lu ms", HAL_GetTick() - start);
  init_reboot_db();// 初始化掉电存储数据库，读取上次重启原因
  LOG(" init_reboot_db total run time: %lu ms", HAL_GetTick() - start);
  net_config_init();// 读取配网参数（必须放在init_sys_db()之后）
  //——————————————————————————————————————————————————————————————
  OLED_Task_Init();
  MsgQueue_Init();
  start_buzz_task();
	userShellInit();			//初始化配置LetterShell
  buzz_contral(BUZZ_LONG);
  fdcan1.rx_Filter_Init();
  fdcan1.rx_Interrupt_Init();
  fdcan1.start();
  fdcan2.rx_Filter_Init();
  fdcan2.rx_Interrupt_Init();
  fdcan2.start();

  start_syncif_task();
  vTaskDelay(1000);
  buzz_contral(BUZZ_SHORT);
  start_mbif_task();
  vTaskDelay(1000);
  buzz_contral(BUZZ_SHORT);
  start_injector_task();
  ETH_InitTaskHandle = osThreadNew(ETH_InitTask, NULL, &ETH_InitTask_attributes);
  /* Infinite loop */
  for (;;)
  {
     vTaskDelay(500);
  }
  /* USER CODE END StartDefaultTask */
}

/* USER CODE BEGIN Application */
void PrintTaskStackAndCount(void)
{
    // 1. 获取当前系统总任务数量
    UBaseType_t total_task_num = uxTaskGetNumberOfTasks();
    LOG("==================== System Task Info ====================");
    LOG("Total running task count: %lu", (unsigned long)total_task_num);
    LOG("----------------------------------------------------------");

    // 2. 逐个打印你创建的所有业务/网络任务最小剩余栈水位
    LOG("1 ,IWDGTask                  min stack left: %u bytes", uxTaskGetStackHighWaterMark(IWDGTaskHandle));
    LOG("2 ,StartDefaultTask          min stack left: %u bytes", uxTaskGetStackHighWaterMark(defaultTaskHandle));
    LOG("3 ,OLED_Task_Entry           min stack left: %u bytes", uxTaskGetStackHighWaterMark(g_oledTaskHandle));
    LOG("4 ,OLED_Msg_Task_Entry       min stack left: %u bytes", uxTaskGetStackHighWaterMark(OLED_Msg_TaskkHandle));
    LOG("5 ,buzz_task                 min stack left: %u bytes", uxTaskGetStackHighWaterMark(buzz_task_handler));
    LOG("6 ,syncif_task               min stack left: %u bytes", uxTaskGetStackHighWaterMark(syncif_task_handler));
    LOG("7 ,syncif_task_cycle         min stack left: %u bytes", uxTaskGetStackHighWaterMark(syncif_task_handler_cycle));
    LOG("8 ,mbif_task                 min stack left: %u bytes", uxTaskGetStackHighWaterMark(mbif_task_handler));
    LOG("9 ,injector_task             min stack left: %u bytes", uxTaskGetStackHighWaterMark(injector_task_handler));
    LOG("10 ,ETH_InitTask             min stack left: %u bytes", uxTaskGetStackHighWaterMark(ETH_InitTaskHandle));
    LOG("11,udp_discover_task         min stack left: %u bytes", uxTaskGetStackHighWaterMark(udpTaskHandle));
    LOG("12,tcp_client_task           min stack left: %u bytes", uxTaskGetStackHighWaterMark(tcpConfigTaskHandle));
    LOG("13,TCP_task_processing_task  min stack left: %u bytes", uxTaskGetStackHighWaterMark(TCP_task_processingTaskHandle));
    LOG("14,TimerReqSendTask          min stack left: %u bytes", uxTaskGetStackHighWaterMark(TimerReqSendTaskHandle));
    LOG("15,TimeSyncTask              min stack left: %u bytes", uxTaskGetStackHighWaterMark(TimeSyncTaskHandle));
    LOG("16,RebootTask                min stack left: %u bytes", uxTaskGetStackHighWaterMark(RebootTaskHandle));
    // LOG("xxx_task                min stack left: %u bytes", uxTaskGetStackHighWaterMark(xxxTaskHandle));

    LOG("----------------------------------------------------------");
    // 3. 打印堆内存使用水位
    size_t heap_free_now = xPortGetFreeHeapSize();//当前系统实时剩余可用堆内存字节数
    size_t heap_free_min = xPortGetMinimumEverFreeHeapSize();//堆内存出现过的最小剩余字节
    LOG("Heap Now Free: %u Bytes | Min Free Heap: %u Bytes", heap_free_now, heap_free_min);
    LOG("==========================================================\r\n");
}

void ETH_InitTask(void *argument)
{

  //—————————————必须放在MX_LWIP_Init();之后———————————————————————
  // init_net_db();
  //net_config_init();// 读取配网参数（必须放在init_sys_db()之后）
  //——————————————————————————————————————————————————————————————
  udpTaskHandle = osThreadNew(udp_discover_task, NULL, &udpTask_attributes);
  tcpConfigTaskHandle = osThreadNew(tcp_client_task, NULL, &tcpConfigTask_attributes);
  TCP_task_processingTaskHandle = osThreadNew(TCP_task_processing_task,  NULL, &TCP_task_processingTask_attributes);
  TimerReqSendTaskHandle = osThreadNew(timer_req_send_task, NULL, &TimerReqSendTask_attributes);
  TimeSyncTaskHandle = osThreadNew(TimeSyncTask, NULL, &TimeSyncTask_attributes);
  RebootTaskHandle = osThreadNew(vRebootTask, NULL, &RebootTask_attributes);
  // Test_Oil_FillingTaskHandle = osThreadNew(test_oil_filling_task, NULL, &Test_Oil_FillingTask_attributes);
  // if(Test_Oil_FillingTaskHandle==0&&TimeSyncTaskHandle==0&&TimerReqSendTaskHandle==0&&TCP_task_processingTaskHandle==0&&tcpConfigTaskHandle==0&&udpTaskHandle==0)
  // {
  //   for (;;)
  //   {
  //       vTaskDelay(2000);
  //   }
  // }
  LOG("init run time: %lu ms", HAL_GetTick() - start);
  Initialization_time = (HAL_GetTick() - start + 10000)/1000; // 预留5秒，确保系统初始化完成
  // osThreadNew(udp_echo_task, NULL, NULL);
  vTaskDelay(5000);
  for (;;)
  {
    PrintTaskStackAndCount();
    vTaskDelay(50000);

  }
}

void IWDGTask(void *argument)
{
  for (;;)
  {
    HAL_IWDG_Refresh(&hiwdg1); // 循环末尾喂狗
    vTaskDelay(pdMS_TO_TICKS(200));
  }
}

void vApplicationStackOverflowHook(TaskHandle_t xTask, char *pcTaskName)
{
    // 当任务栈溢出时，会自动进入这里
    // pcTaskName 变量就是出问题的任务名字！
    (void)xTask;
    while(1)
    {
        __NOP(); // 死循环，方便调试
    }
}
/* USER CODE END Application */
